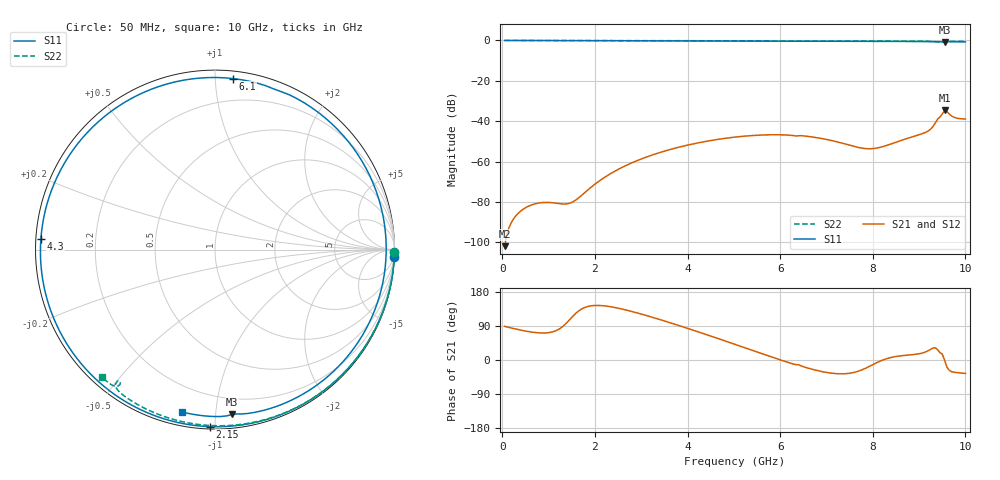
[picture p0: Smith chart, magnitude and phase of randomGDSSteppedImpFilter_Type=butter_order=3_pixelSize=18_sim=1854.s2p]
! freq	dB(S11)	phase(S11)	dB(S12)	phase(S12)
!  dB(S21)	phase(S21)	dB(S22)	phase(S22)
!S-par simulation data
#  GHz  S  DB  R 50
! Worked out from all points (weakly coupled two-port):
!   200 points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, 50 MHz to 10 GHz, reference 50 ohm
!   highest |S21| = -34.66 dB at 9.55 GHz (marker M1); lowest = -101.9 dB at 50 MHz (marker M2)
!   lowest |S11| = -0.7 dB at 9.55 GHz (marker M3), VSWR 25.03, Z = 4.45 - j55.3 ohm
!   |S11| at or under -10 dB: nowhere
!   |S22| runs from -0.9 to 0.0 dB; largest |S21 - S12| = 0
!   S11 on the Smith chart (normalised r, x): 50 MHz: 0, -52; 2.15 GHz: 0.01, -0.97; 4.3 GHz: 0.01, +0.03; 6.1 GHz: 0.05, +1.11; 10 GHz: 0.07, -0.82
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0.05  -0.00 -2.2  -101.89 88.8  -101.89 88.8  -0.00 -0.8
0.7  -0.04 -30.4  -80.97 72.7  -80.97 72.7  -0.01 -10.7
1.5  -0.08 -64.5  -80.22 112.5  -80.22 112.5  -0.03 -22.7
1.75  -0.09 -75.0  -75.98 136.9  -75.98 136.9  -0.03 -26.4
2.15  -0.11 -91.6  -68.71 143.5  -68.71 143.5  -0.04 -32.3
2.75  -0.15 -116.5  -61.09 129.6  -61.09 129.6  -0.05 -41.0
3.4  -0.18 -143.8  -55.52 106.8  -55.52 106.8  -0.07 -50.3
3.85  -0.21 -163.3  -52.66 89.5  -52.66 89.5  -0.08 -56.5
4.3  -0.25 176.4  -50.40 71.4  -50.40 71.4  -0.09 -62.7
4.7  -0.28 157.5  -48.84 55.0  -48.84 55.0  -0.10 -68.1
5.05  -0.30 140.2  -47.80 40.3  -47.80 40.3  -0.11 -72.7
5.6  -0.34 111.5  -46.84 17.1  -46.84 17.1  -0.13 -79.9
6.1  -0.37 83.9  -46.79 -3.6  -46.79 -3.6  -0.15 -86.2
6.7  -0.39 50.3  -47.83 -24.7  -47.83 -24.7  -0.18 -93.7
7.1  -0.39 28.1  -49.52 -34.6  -49.52 -34.6  -0.20 -98.6
7.5  -0.41 6.8  -51.90 -35.1  -51.90 -35.1  -0.23 -103.4
7.95  -0.42 -15.9  -53.63 -15.4  -53.63 -15.4  -0.26 -108.8
8.35  -0.45 -34.7  -51.61 5.3  -51.61 5.3  -0.29 -113.5
9.2  -0.56 -70.9  -44.79 24.7  -44.79 24.7  -0.40 -124.1
9.55  -0.69 -84.0  -34.66 0.1  -34.66 0.1  -0.60 -125.4
9.75  -0.64 -91.9  -38.01 -32.2  -38.01 -32.2  -0.45 -128.5
10  -0.69 -101.5  -38.88 -35.5  -38.88 -35.5  -0.46 -131.7
